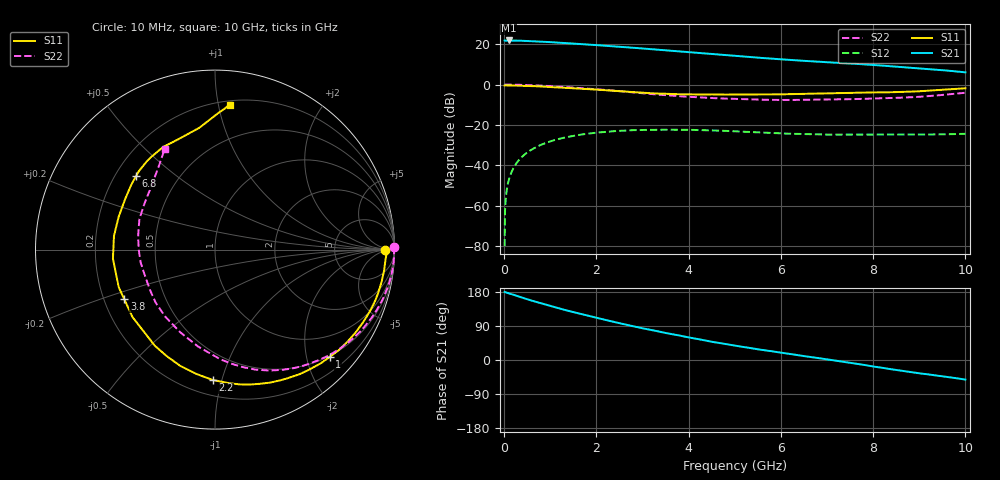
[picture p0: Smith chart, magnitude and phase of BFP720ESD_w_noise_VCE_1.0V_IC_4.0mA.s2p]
! Infineon Technologies  Discrete & RF Semiconductors
! BFP720ESD
! VCE =  1.0 V,  IC =  4.0 mA
! Common Emitter S-Parameters:  Jan 2016
# GHz  S  MA  R  50
!  f  S11  S21  S12  S22
! GHz  MAG  ANG  MAG  ANG  MAG  ANG  MAG  ANG
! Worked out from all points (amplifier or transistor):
!   233 points, 10 MHz to 10 GHz, reference 50 ohm
!   highest |S21| = 21.9 dB at 100 MHz (marker M1)
!   |S21| within 3 dB of that: start of sweep to 2.439 GHz
!   unconditionally stable (mu >= 1): start of sweep to 10.42 MHz; 6.226 GHz to 9.81 GHz
!   at 200 MHz: K = 0.04, MSG = 31.6 dB, |S12| = -41.4 dB
!   at 1.74 GHz: K = 0.23, MSG = 22.2 dB, |S12| = -24.5 dB
!   at 10 GHz: K = 0.89, MSG = 15.2 dB, |S12| = -24.4 dB
!   lowest NFmin = 0.53 dB at 450 MHz
!   S11 on the Smith chart (normalised r, x): 10 MHz: 38, -1; 1 GHz: 0.48, -2.45; 2.2 GHz: 0.30, -0.94; 3.8 GHz: 0.29, -0.24; 6.8 GHz: 0.29, +0.36; 10 GHz: 0.23, +1.08
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0.01  0.9488 -0.1  12.37 179.6  0.0001 15.5  0.9954 0.8
0.015  0.952 -0.6  12.33 179.4  0.0004 79.7  0.9964 0.1
0.02  0.9552 -1.0  12.29 179.2  0.0008 86.2  0.9975 -0.5
0.03  0.955 -1.3  12.29 178.7  0.0013 86.1  0.9978 -0.8
0.1  0.95 -4.5  12.38 176.0  0.0043 88.0  0.998 -3.3
0.34  0.9404 -15.0  12.22 166.5  0.0144 79.3  0.9874 -11.3
0.6  0.919 -26.2  11.87 156.6  0.0248 71.4  0.9648 -19.6
1  0.8752 -43.2  11.26 142.7  0.0393 59.6  0.917 -32.2
1.32  0.8362 -56.5  10.71 132.0  0.0491 50.8  0.8708 -41.8
1.68  0.7903 -70.8  10.07 120.7  0.0581 41.6  0.8169 -52.0
2.2  0.727 -90.9  9.164 105.6  0.0678 29.9  0.7376 -66.0
2.78  0.6535 -113.6  8.197 89.5  0.0742 17.8  0.6437 -81.5
3.4  0.5962 -136.8  7.205 74.0  0.0762 6.8  0.5585 -97.2
3.8  0.5761 -151.3  6.65 64.6  0.0761 0.9  0.5156 -107.4
4.5  0.5709 -174.9  5.774 48.1  0.0739 -8.7  0.465 -126.7
5.1  0.5661 170.1  5.048 36.0  0.0691 -14.4  0.4388 -140.3
6  0.574 150.9  4.232 19.3  0.0619 -19.0  0.4165 -159.4
6.8  0.6004 137.2  3.688 5.3  0.0585 -19.4  0.4217 -176.0
7.6  0.6267 124.5  3.281 -9.0  0.058 -19.4  0.4377 167.3
8.4  0.6476 108.6  2.836 -24.5  0.0576 -20.6  0.4653 149.0
9  0.6838 97.4  2.516 -35.1  0.0578 -20.3  0.4982 135.6
10  0.8108 84.1  2.011 -51.7  0.0605 -20.8  0.6279 116.5
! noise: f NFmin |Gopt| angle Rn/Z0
0.45  0.53  0.54  6  0.16
0.9  0.56  0.53  13  0.17
1.9  0.61  0.47  34  0.15
2.4  0.66  0.44  41  0.16
5.5  0.91  0.2  122  0.09
10  1.66  0.57  -100  0.41
